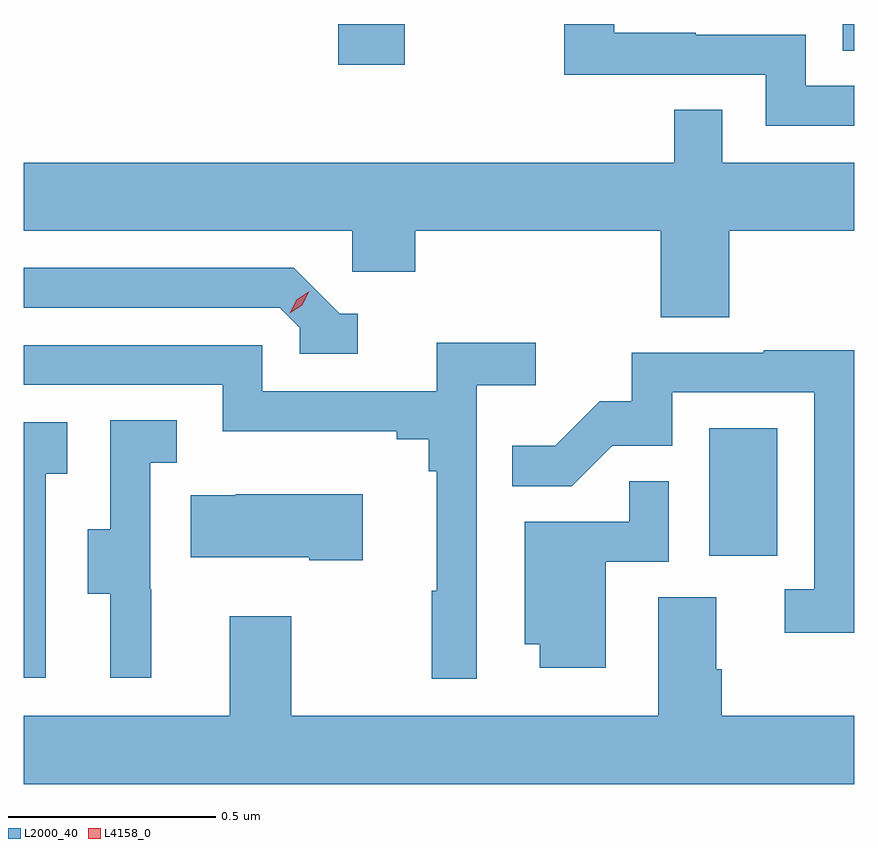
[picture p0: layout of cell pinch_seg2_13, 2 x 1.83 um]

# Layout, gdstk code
import gdstk
lib = gdstk.Library(unit=1e-6, precision=1e-09)
def R(c, l, rs):  # rectangles x0, y0, x1, y1
    for r in rs: c.add(gdstk.rectangle(r[:2], r[2:], *l))
def P(c, l, *ps):  # polygons
    for p in ps: c.add(gdstk.Polygon(p, *l))
L2000_40 = (2000, 40)
L4158_0 = (4158, 0)

pinch_seg2_13 = lib.new_cell('pinch_seg2_13')
R(pinch_seg2_13, L2000_40, [(1086.218,660.174,1086.382,660.481), (1085.324,661.356,1085.485,661.454), (1086.539,661.39,1086.567,661.454)])
P(pinch_seg2_13, L2000_40, [(1086.567,661.305),(1086.45,661.305),(1086.45,661.428),(1086.185,661.428),(1086.185,661.433),(1085.989,661.433),(1085.989,661.454),(1085.868,661.454),(1085.868,661.332),(1086.354,661.332),(1086.354,661.209),(1086.567,661.209)],
  [(1086.266,660.956),(1086.567,660.956),(1086.567,661.12),(1086.249,661.12),(1086.249,661.247),(1086.133,661.247),(1086.133,661.12),(1084.567,661.12),(1084.567,660.956),(1085.358,660.956),(1085.358,660.858),(1085.51,660.858),(1085.51,660.956),(1086.101,660.956),(1086.101,660.748),(1086.266,660.748)],
  [(1085.371,660.756),(1085.328,660.756),(1085.217,660.867),(1084.567,660.867),(1084.567,660.771),(1085.184,660.771),(1085.232,660.723),(1085.232,660.66),(1085.371,660.66)],
  [(1085.658,660.584),(1085.8,660.584),(1085.8,660.686),(1085.561,660.686),(1085.561,660.57),(1085.142,660.57),(1085.142,660.681),(1084.567,660.681),(1084.567,660.585),(1085.046,660.585),(1085.046,660.473),(1085.465,660.473),(1085.465,660.454),(1085.542,660.454),(1085.542,660.377),(1085.561,660.377),(1085.561,660.089),(1085.55,660.089),(1085.55,659.877),(1085.658,659.877)],
  [(1086.567,660.668),(1086.349,660.668),(1086.349,660.663),(1086.031,660.663),(1086.031,660.546),(1085.954,660.546),(1085.847,660.439),(1085.743,660.439),(1085.743,660.341),(1085.887,660.341),(1085.984,660.438),(1086.129,660.438),(1086.129,660.567),(1086.471,660.567),(1086.471,660.093),(1086.399,660.093),(1086.399,659.988),(1086.567,659.988)],
  [(1084.874,660.093),(1084.872,660.093),(1084.872,660.397),(1084.936,660.397),(1084.936,660.5),(1084.776,660.5),(1084.776,660.237),(1084.721,660.237),(1084.721,660.082),(1084.775,660.082),(1084.775,659.88),(1084.874,659.88)],
  [(1084.62,660.371),(1084.672,660.371),(1084.672,660.495),(1084.567,660.495),(1084.567,659.88),(1084.62,659.88)],
  [(1085.968,660.159),(1086.12,660.159),(1086.12,660.353),(1086.025,660.353),(1086.025,660.255),(1085.774,660.255),(1085.774,659.96),(1085.81,659.96),(1085.81,659.904),(1085.968,659.904)],
  [(1085.383,660.322),(1085.077,660.322),(1085.077,660.319),(1084.969,660.319),(1084.969,660.17),(1085.255,660.17),(1085.255,660.163),(1085.383,660.163)],
  [(1086.567,659.788),(1086.248,659.788),(1086.248,659.9),(1086.235,659.9),(1086.235,660.074),(1086.095,660.074),(1086.095,659.788),(1085.211,659.788),(1085.211,660.028),(1085.063,660.028),(1085.063,659.788),(1084.567,659.788),(1084.567,659.624),(1086.567,659.624)])
P(pinch_seg2_13, L4158_0, [(1085.208,660.757),(1085.208,660.758),(1085.224,660.79),(1085.254,660.81),(1085.254,660.81),(1085.254,660.81),(1085.238,660.777),(1085.208,660.757)])

lib.write_gds('pinch_seg2_13.gds')
